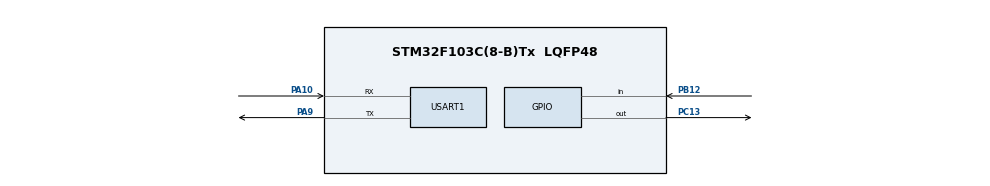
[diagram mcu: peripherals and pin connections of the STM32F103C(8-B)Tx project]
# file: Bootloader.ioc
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Mcu.Family=STM32F1
Mcu.Name=STM32F103C(8-B)Tx
Mcu.Package=LQFP48
NVIC.PriorityGroup=NVIC_PRIORITYGROUP_4
PA10.Mode=Asynchronous
PA10.Signal=USART1_RX
PA13.Mode=Serial_Wire
PA13.Signal=SYS_JTMS-SWDIO
PA14.Mode=Serial_Wire
PA14.Signal=SYS_JTCK-SWCLK
PA9.Mode=Asynchronous
PA9.Signal=USART1_TX
PB12.GPIO_PuPd=GPIO_PULLDOWN
PB12.Signal=GPIO_Input
PC13-TAMPER-RTC.Signal=GPIO_Output
ProjectManager.HeapSize=0x200
ProjectManager.StackSize=0x400
ProjectManager.TargetToolchain=Makefile
RCC.APB1Freq_Value=8000000
RCC.APB2Freq_Value=8000000
USART1.VirtualMode=VM_ASYNC
board=custom

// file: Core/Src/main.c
/* USER CODE BEGIN Header */
/**
  ******************************************************************************
  * @file           : main.c
  * @brief          : Main program body
  ******************************************************************************
  * @attention
  *
  * Copyright (c) 2024 STMicroelectronics.
  * All rights reserved.
  *
  * This software is licensed under terms that can be found in the LICENSE file
  * in the root directory of this software component.
  * If no LICENSE file comes with this software, it is provided AS-IS.
  *
  ******************************************************************************
  */
/* USER CODE END Header */
#include "main.h"

/* USER CODE BEGIN Includes */
#include <stdint.h>
#include <stdbool.h>
#include <string.h>
#include "bootloader_cmd.h"
/* USER CODE END Includes */

/* USER CODE BEGIN PD */
#define GET_VALUE_FROM_ADDR(address) \
  *((volatile uint32_t*)(address))
/* USER CODE END PD */

UART_HandleTypeDef huart1;
UART_HandleTypeDef* bootloader_uart = &huart1;

/* USER CODE BEGIN PV */
extern uint32_t _sidata; // .data in flash (VMA)
extern uint32_t _sdata; // start of .data (initialize vars) in flash
extern uint32_t _edata;
extern uint32_t _sbss; // start of .bss (not initialize vars) in SRAM
extern uint32_t _ebss;
/* USER CODE END PV */

void SystemClock_Config(void);
static void MX_GPIO_Init(void);
static void MX_USART1_UART_Init(void);
/* USER CODE BEGIN PFP */
void _bootloader_start(void);
int main(void);
void SysTick_Handler(void);
void HAL_GPIO_DeInit(GPIO_TypeDef  *GPIOx, uint32_t GPIO_Pin);
static void led_blink(void);
static void start_application_code(void);
/* USER CODE END PFP */

/* USER CODE BEGIN 0 */

// Minimal vector table
uint32_t *vector_table[] __attribute__((section(".isr_vector"))) = {
  (uint32_t *) SRAM_END, // initial stack pointer
  (uint32_t *) _bootloader_start,
  0, 0, 0, 0, 0, 0, 0, 0, 0, 0, 0, 0, 0,
  (uint32_t *)SysTick_Handler
};

__attribute__((always_inline))
inline static void __initialize_data(
    uint32_t* flash_begin,
    uint32_t* data_begin,
    uint32_t* data_end
) {
    uint32_t *p = data_begin;
    while (p < data_end)
        *p++ = *flash_begin++;
}

__attribute__((always_inline))
inline static void __initialize_bss(
    uint32_t* bss_begin,
    uint32_t* bss_end
) {
    uint32_t *p = bss_begin;
    while (p < bss_end)
        *p++ = 0;
}

__attribute__((noreturn,weak))
void _bootloader_start(void)
{
    __initialize_data(&_sidata, &_sdata, &_edata);
    __initialize_bss(&_sbss, &_ebss);
    main();

    for(;;);
}

/* USER CODE END 0 */

int main(void)
{

  /* MCU Configuration--------------------------------------------------------*/

  /* Reset of all peripherals, Initializes the Flash interface and the Systick. */
  HAL_Init();

  /* Configure the system clock */
  SystemClock_Config();

  /* Initialize all configured peripherals */
  MX_GPIO_Init();
  uint32_t current_ticks = HAL_GetTick();

  if (HAL_GPIO_ReadPin(GPIOB, GPIO_PIN_12) == GPIO_PIN_SET)
  {
    MX_USART1_UART_Init();
    bootloader_start_output();

    while (true)
    {
      led_blink();

      if ((HAL_GetTick() - current_ticks) < UART_POLLING_DELAY)
        continue;
      if (bootloader_proccess_input() == BOOTLOADER_TIMEOUT)
        continue;

      current_ticks = HAL_GetTick();
    }
  }
  else
  {
    start_application_code();
  }

  /* USER CODE END 2 */

  /* Infinite loop */
  /* USER CODE BEGIN WHILE */
  /* USER CODE END 3 */
}

void SystemClock_Config(void)
{
  RCC_OscInitTypeDef RCC_OscInitStruct = {0};
  RCC_ClkInitTypeDef RCC_ClkInitStruct = {0};

  /** Initializes the RCC Oscillators according to the specified parameters
  * in the RCC_OscInitTypeDef structure.
  */
  RCC_OscInitStruct.OscillatorType = RCC_OSCILLATORTYPE_HSI;
  RCC_OscInitStruct.HSIState = RCC_HSI_ON;
  RCC_OscInitStruct.HSICalibrationValue = RCC_HSICALIBRATION_DEFAULT;
  RCC_OscInitStruct.PLL.PLLState = RCC_PLL_NONE;
  if (HAL_RCC_OscConfig(&RCC_OscInitStruct) != HAL_OK)
  {
    Error_Handler();
  }

  /** Initializes the CPU, AHB and APB buses clocks
  */
  RCC_ClkInitStruct.ClockType = RCC_CLOCKTYPE_HCLK|RCC_CLOCKTYPE_SYSCLK
                              |RCC_CLOCKTYPE_PCLK1|RCC_CLOCKTYPE_PCLK2;
  RCC_ClkInitStruct.SYSCLKSource = RCC_SYSCLKSOURCE_HSI;
  RCC_ClkInitStruct.AHBCLKDivider = RCC_SYSCLK_DIV1;
  RCC_ClkInitStruct.APB1CLKDivider = RCC_HCLK_DIV1;
  RCC_ClkInitStruct.APB2CLKDivider = RCC_HCLK_DIV1;

  if (HAL_RCC_ClockConfig(&RCC_ClkInitStruct, FLASH_LATENCY_0) != HAL_OK)
  {
    Error_Handler();
  }
}

static void MX_USART1_UART_Init(void)
{

  huart1.Instance = USART1;
  huart1.Init.BaudRate = 115200;
  huart1.Init.WordLength = UART_WORDLENGTH_8B;
  huart1.Init.StopBits = UART_STOPBITS_1;
  huart1.Init.Parity = UART_PARITY_NONE;
  huart1.Init.Mode = UART_MODE_TX_RX;
  huart1.Init.HwFlowCtl = UART_HWCONTROL_NONE;
  huart1.Init.OverSampling = UART_OVERSAMPLING_16;
  if (HAL_UART_Init(&huart1) != HAL_OK)
  {
    Error_Handler();
  }

}

static void MX_GPIO_Init(void)
{
  GPIO_InitTypeDef GPIO_InitStruct = {0};

  /* GPIO Ports Clock Enable */
  __HAL_RCC_GPIOC_CLK_ENABLE();
  __HAL_RCC_GPIOB_CLK_ENABLE();
  __HAL_RCC_GPIOA_CLK_ENABLE();

  /*Configure GPIO pin Output Level */
  HAL_GPIO_WritePin(GPIOC, GPIO_PIN_13, GPIO_PIN_RESET);

  /*Configure GPIO pin : PC13 */
  GPIO_InitStruct.Pin = GPIO_PIN_13;
  GPIO_InitStruct.Mode = GPIO_MODE_OUTPUT_PP;
  GPIO_InitStruct.Pull = GPIO_NOPULL;
  GPIO_InitStruct.Speed = GPIO_SPEED_FREQ_LOW;
  HAL_GPIO_Init(GPIOC, &GPIO_InitStruct);

  /*Configure GPIO pin : PB12 */
  GPIO_InitStruct.Pin = GPIO_PIN_12;
  GPIO_InitStruct.Mode = GPIO_MODE_INPUT;
  GPIO_InitStruct.Pull = GPIO_PULLDOWN;
  HAL_GPIO_Init(GPIOB, &GPIO_InitStruct);

}

/* USER CODE BEGIN 4 */

static void led_blink(void)
{
  static uint32_t current_ticks = LED_DELAY;

  if ((HAL_GetTick() - current_ticks) < LED_DELAY)
    return;

  current_ticks = HAL_GetTick();
  HAL_GPIO_TogglePin(GPIOC, GPIO_PIN_13);
}

static void start_application_code()
{
  uint32_t app_msp = GET_VALUE_FROM_ADDR(APP_START_ADDRESS);
  if (app_msp != SRAM_END)
    Error_Handler();

  HAL_GPIO_DeInit(GPIOC, GPIO_PIN_13);
  HAL_GPIO_DeInit(GPIOB, GPIO_PIN_12);
  HAL_DeInit();

  // references manual pg. 104
  RCC->CIR = 0x00000000; // disable all interrupts related to clock
  __set_MSP(GET_VALUE_FROM_ADDR(APP_START_ADDRESS));
  // programming manual pg. 99
  __DMB();
  SCB->VTOR = APP_START_ADDRESS;
  // programming manual pg. 100
  __DSB();

  uint32_t jump_address = GET_VALUE_FROM_ADDR(
    APP_START_ADDRESS + sizeof(uint32_t)
  );
  void (*reset_handler)(void) = (void*)jump_address;
  reset_handler();

  // Never coming here
  Error_Handler();
}

/* USER CODE END 4 */

void Error_Handler(void)
{
  /* USER CODE BEGIN Error_Handler_Debug */
  /* User can add his own implementation to report the HAL error return state */
  //__disable_irq();
  while (1)
  {
    HAL_GPIO_TogglePin(GPIOC, GPIO_PIN_13);
    HAL_Delay(LED_ERROR_DELAY);
  }
  /* USER CODE END Error_Handler_Debug */
}
